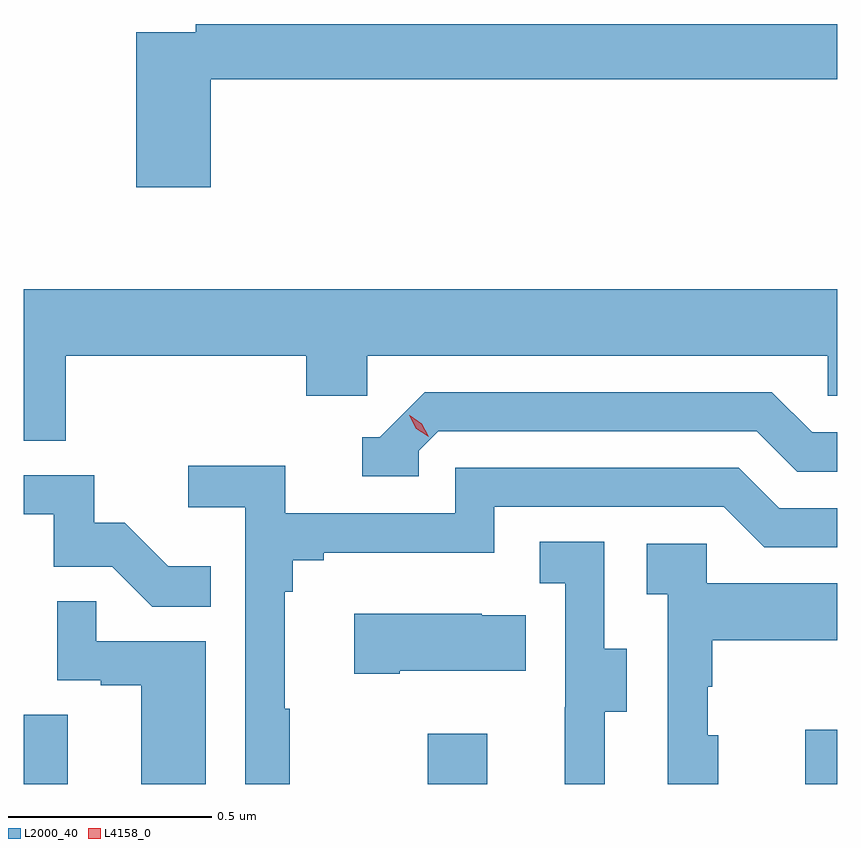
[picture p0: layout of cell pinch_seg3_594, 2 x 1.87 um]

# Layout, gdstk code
import gdstk
lib = gdstk.Library(unit=1e-6, precision=1e-09)
def R(c, l, rs):  # rectangles x0, y0, x1, y1
    for r in rs: c.add(gdstk.rectangle(r[:2], r[2:], *l))
def P(c, l, *ps):  # polygons
    for p in ps: c.add(gdstk.Polygon(p, *l))
L2000_40 = (2000, 40)
L4158_0 = (4158, 0)

pinch_seg3_594 = lib.new_cell('pinch_seg3_594')
R(pinch_seg3_594, L2000_40, [(1020.199,689.208,1020.307,689.378), (1021.192,689.208,1021.339,689.332), (1022.12,689.208,1022.199,689.341)])
P(pinch_seg3_594, L2000_40, [(1020.659,690.94),(1022.199,690.94),(1022.199,691.076),(1020.622,691.076),(1020.622,691.056),(1020.476,691.056),(1020.476,690.675),(1020.659,690.675)],
  [(1020.302,690.26),(1020.893,690.26),(1020.893,690.162),(1021.044,690.162),(1021.044,690.26),(1022.175,690.26),(1022.175,690.162),(1022.199,690.162),(1022.199,690.424),(1020.199,690.424),(1020.199,690.052),(1020.302,690.052)],
  [(1021.17,690.027),(1021.218,690.075),(1022.001,690.075),(1022.1,689.976),(1022.199,689.976),(1022.199,690.072),(1022.137,690.072),(1022.038,690.171),(1021.185,690.171),(1021.074,690.06),(1021.031,690.06),(1021.031,689.964),(1021.17,689.964)],
  [(1020.853,689.393),(1020.841,689.393),(1020.841,689.681),(1020.86,689.681),(1020.86,689.758),(1020.937,689.758),(1020.937,689.777),(1021.356,689.777),(1021.356,689.889),(1021.92,689.889),(1022.019,689.79),(1022.199,689.79),(1022.199,689.886),(1022.056,689.886),(1021.957,689.985),(1021.26,689.985),(1021.26,689.874),(1020.842,689.874),(1020.842,689.99),(1020.603,689.99),(1020.603,689.888),(1020.744,689.888),(1020.744,689.208),(1020.853,689.208)],
  [(1020.659,689.743),(1020.555,689.743),(1020.448,689.85),(1020.372,689.85),(1020.372,689.967),(1020.199,689.967),(1020.199,689.871),(1020.273,689.871),(1020.273,689.742),(1020.417,689.742),(1020.515,689.644),(1020.659,689.644)],
  [(1021.627,689.386),(1021.681,689.386),(1021.681,689.541),(1021.626,689.541),(1021.626,689.804),(1021.467,689.804),(1021.467,689.701),(1021.53,689.701),(1021.53,689.397),(1021.529,689.397),(1021.529,689.208),(1021.627,689.208)],
  [(1021.906,689.328),(1021.881,689.328),(1021.881,689.447),(1021.891,689.447),(1021.891,689.561),(1022.199,689.561),(1022.199,689.701),(1021.878,689.701),(1021.878,689.799),(1021.731,689.799),(1021.731,689.675),(1021.782,689.675),(1021.782,689.208),(1021.906,689.208)],
  [(1020.646,689.559),(1020.377,689.559),(1020.377,689.657),(1020.282,689.657),(1020.282,689.463),(1020.389,689.463),(1020.389,689.451),(1020.488,689.451),(1020.488,689.208),(1020.646,689.208)],
  [(1021.123,689.486),(1021.433,689.486),(1021.433,689.623),(1021.325,689.623),(1021.325,689.626),(1021.011,689.626),(1021.011,689.479),(1021.123,689.479)])
P(pinch_seg3_594, L4158_0, [(1021.195,690.062),(1021.164,690.081),(1021.147,690.114),(1021.147,690.114),(1021.148,690.114),(1021.178,690.094),(1021.195,690.062),(1021.195,690.062)])

lib.write_gds('pinch_seg3_594.gds')
